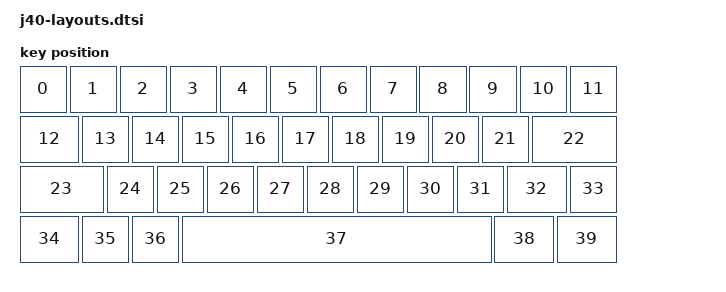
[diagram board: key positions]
#include <physical_layouts.dtsi>

/ {
    physical_layout0: physical_layout0 {
        compatible = "zmk,physical-layout";
        display-name = "j40";

        kscan = <&kscan0>;
        transform = <&matrix_transform0>;

        keys  //                     w   h    x    y     rot    rx    ry
        = <&key_physical_attrs 100 100    0    0       0     0     0>
        , <&key_physical_attrs 100 100  100    0       0     0     0>
        , <&key_physical_attrs 100 100  200    0       0     0     0>
        , <&key_physical_attrs 100 100  300    0       0     0     0>
        , <&key_physical_attrs 100 100  400    0       0     0     0>
        , <&key_physical_attrs 100 100  500    0       0     0     0>
        , <&key_physical_attrs 100 100  600    0       0     0     0>
        , <&key_physical_attrs 100 100  700    0       0     0     0>
        , <&key_physical_attrs 100 100  800    0       0     0     0>
        , <&key_physical_attrs 100 100  900    0       0     0     0>
        , <&key_physical_attrs 100 100 1000    0       0     0     0>
        , <&key_physical_attrs 100 100 1100    0       0     0     0>
        , <&key_physical_attrs 125 100    0  100       0     0     0>
        , <&key_physical_attrs 100 100  125  100       0     0     0>
        , <&key_physical_attrs 100 100  225  100       0     0     0>
        , <&key_physical_attrs 100 100  325  100       0     0     0>
        , <&key_physical_attrs 100 100  425  100       0     0     0>
        , <&key_physical_attrs 100 100  525  100       0     0     0>
        , <&key_physical_attrs 100 100  625  100       0     0     0>
        , <&key_physical_attrs 100 100  725  100       0     0     0>
        , <&key_physical_attrs 100 100  825  100       0     0     0>
        , <&key_physical_attrs 100 100  925  100       0     0     0>
        , <&key_physical_attrs 175 100 1025  100       0     0     0>
        , <&key_physical_attrs 175 100    0  200       0     0     0>
        , <&key_physical_attrs 100 100  175  200       0     0     0>
        , <&key_physical_attrs 100 100  275  200       0     0     0>
        , <&key_physical_attrs 100 100  375  200       0     0     0>
        , <&key_physical_attrs 100 100  475  200       0     0     0>
        , <&key_physical_attrs 100 100  575  200       0     0     0>
        , <&key_physical_attrs 100 100  675  200       0     0     0>
        , <&key_physical_attrs 100 100  775  200       0     0     0>
        , <&key_physical_attrs 100 100  875  200       0     0     0>
        , <&key_physical_attrs 125 100  975  200       0     0     0>
        , <&key_physical_attrs 100 100 1100  200       0     0     0>
        , <&key_physical_attrs 125 100    0  300       0     0     0>
        , <&key_physical_attrs 100 100  125  300       0     0     0>
        , <&key_physical_attrs 100 100  225  300       0     0     0>
        , <&key_physical_attrs 625 100  325  300       0     0     0>
        , <&key_physical_attrs 125 100  950  300       0     0     0>
        , <&key_physical_attrs 125 100 1075  300       0     0     0>
        ;
    };

    position_map {
        compatible = "zmk,physical-layout-position-map";

        complete;

        matrix_transform0 {
            physical-layout = <&physical_layout>;
            positions
            = < 0  1  2  3  4  5  6  7  8  9 10 11>
            , <12  13 14 15 16 17 18 19 20 21  22 >
            , <23  24 25 26 27 28 29 30 31 32  33 >
            , <34  35 36 37               38  39  >
            ;
        };
    };
};

//

// {
//    default_layout: default_layout {
//        compatible = "zmk,physical-layout";
//        display-name = "Default Layout";
//        transform = <&default_transform>;
//        kscan = <&kscan>;

        // Edit this to define the positions and sizes of the keys, or remove it
        // if your keyboard will not support ZMK Studio.
        // https://zmk.dev/docs/development/hardware-integration/physical-layouts#optional-keys-property
//        keys  //                     w   h    x    y     rot    rx    ry
//            = <&key_physical_attrs 100 100    0    0       0     0     0>
//            , <&key_physical_attrs 100 100  100    0       0     0     0>
//            , <&key_physical_attrs 100 100    0  100       0     0     0>
//            , <&key_physical_attrs 100 100  100  100       0     0     0>
//            ;
//    };
//};
